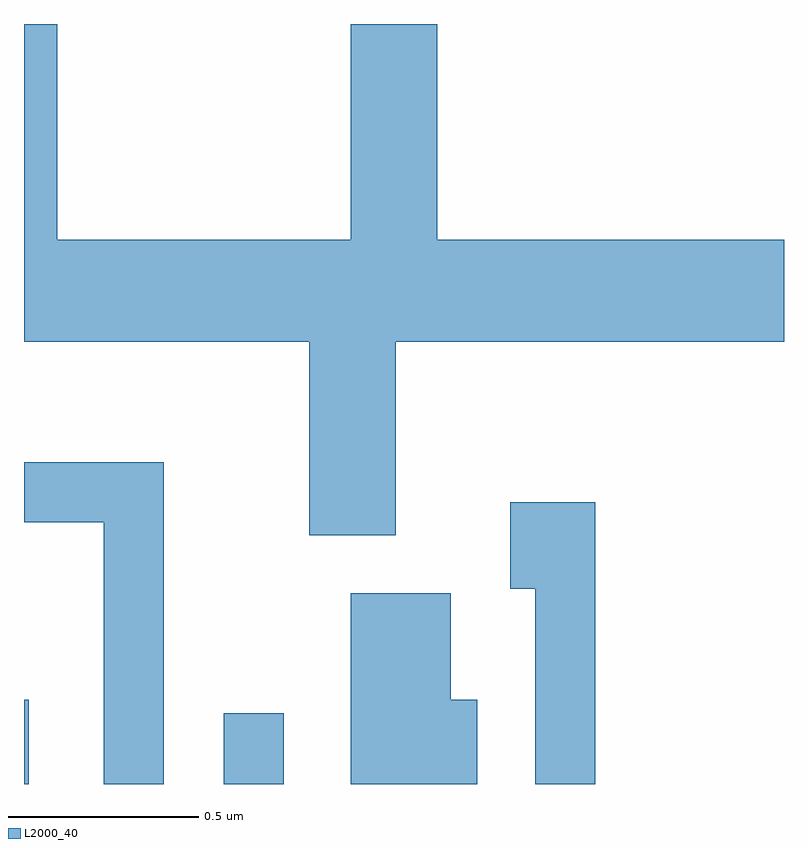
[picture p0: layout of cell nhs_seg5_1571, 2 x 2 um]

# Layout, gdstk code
import gdstk
lib = gdstk.Library(unit=1e-6, precision=1e-09)
def R(c, l, rs):  # rectangles x0, y0, x1, y1
    for r in rs: c.add(gdstk.rectangle(r[:2], r[2:], *l))
def P(c, l, *ps):  # polygons
    for p in ps: c.add(gdstk.Polygon(p, *l))
L2000_40 = (2000, 40)

nhs_seg5_1571 = lib.new_cell('nhs_seg5_1571')
R(nhs_seg5_1571, L2000_40, [(196.611,1460.072,196.624,1460.294), (197.136,1460.072,197.294,1460.258)])
P(nhs_seg5_1571, L2000_40, [(197.589,1461.236),(198.611,1461.236),(198.611,1461.504),(197.699,1461.504),(197.699,1462.072),(197.471,1462.072),(197.471,1461.504),(196.699,1461.504),(196.699,1462.072),(196.611,1462.072),(196.611,1461.236),(197.361,1461.236),(197.361,1460.726),(197.589,1460.726)],
  [(196.979,1460.919),(196.611,1460.919),(196.611,1460.761),(196.821,1460.761),(196.821,1460.072),(196.979,1460.072)],
  [(198.114,1460.814),(197.891,1460.814),(197.891,1460.586),(197.956,1460.586),(197.956,1460.072),(198.114,1460.072)],
  [(197.804,1460.294),(197.734,1460.294),(197.734,1460.574),(197.471,1460.574),(197.471,1460.072),(197.804,1460.072)])

lib.write_gds('nhs_seg5_1571.gds')
